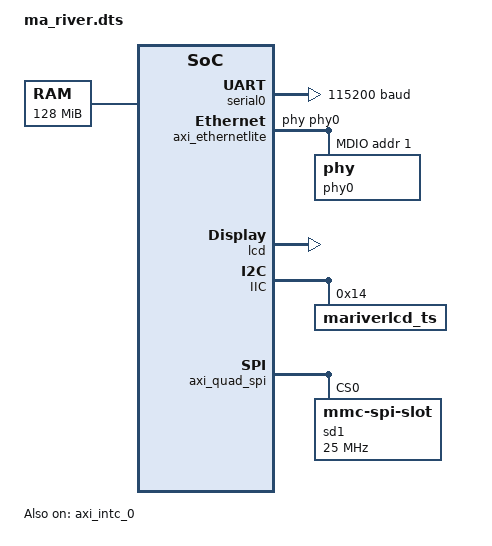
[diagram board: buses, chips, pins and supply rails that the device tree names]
/dts-v1/;

#include <dt-bindings/interrupt-controller/irq.h>

/ {
	compatible = "nscscc,Ma_River_SoC";
	#address-cells = <1>;
	#size-cells = <1>;

	chosen {
		//bootargs = "console=ttyS0,115200n8 rdinit=/sbin/init";
		bootargs = "console=ttyS0,115200n8 console=tty1 rdinit=/sbin/init root=/dev/nfs rootfstype=nfs nfsroot=192.168.6.186:/home/geng/Item/rootfs,proto=tcp,port=2049,nolock,vers=3 rootdelay=2 nfsrootdebug rw ip=192.168.6.20:192.168.6.186:192.168.6.1:255.255.255.0:soc:eth0:off";
		stdout-path = "serial0";
	};

	aliases {
		serial0 = &serial0;
	};

	cpus {
		#address-cells = <1>;
		#size-cells = <0>;
		cpu@0 {
			device_type = "cpu";
			compatible = "mips,4Kc";
			clocks = <&cpuclk>;
			reg = <0>;
		};
	};

	cpuclk: cpuclk {
		compatible = "fixed-clock";
		clock-frequency = <100000000>;
		#clock-cells = <0>;
	};

	socclk: socclk {
		compatible = "fixed-clock";
		clock-frequency = <100000000>;
		#clock-cells = <0>;
	};

	memory {
		device_type = "memory";
		reg = <0x0 0x8000000>;
	};

	cpuintc: interrupt-controller@0 {
		#address-cells = <0>;
		#interrupt-cells = <1>;
		interrupt-controller;
		compatible = "mti,cpu-interrupt-controller";
	};

	soc {
		compatible = "simple-bus";
		#address-cells = <1>;
		#size-cells = <1>;
		#interrupt-cells = <1>;
		ranges;

		axi_intc_0: interrupt-controller@1fb00000 {
			#interrupt-cells = <1>;
			compatible = "xlnx,xps-intc-1.00.a";
			interrupt-controller;
			interrupt-parent = <&cpuintc>;
			interrupts = <2>;
			reg = <0x1fb00000 0x1000>;
			xlnx,kind-of-intr = <0x5>;
			xlnx,num-intr-inputs = <0x3>;
			status = "okay";
		}; 

		serial0: serial@1fe40000 {
			device_type = "serial";
			compatible = "ns16550a";
			reg = <0x1fe40000 0x1000>;
			reg-offset = <0x0000>;
			reg-io-width = <4>;
			reg-shift = <2>;
			current-speed = <115200>;
			clocks = <&socclk>;
			interrupt-parent = <&cpuintc>;
			interrupts = <3>;
		};


		axi_ethernetlite: ethernet@1ff00000 {
			compatible = "xlnx,xps-ethernetlite-1.00.a";
			device_type = "network";
			mac-address = [18 98 00 01 00 29];
			phy-handle = <&phy0>;
			reg = <0x1ff00000 0x10000>;
			xlnx,duplex = <0x1>;
			xlnx,include-global-buffers = <0x1>;
			xlnx,include-internal-loopback = <0x0>;
			xlnx,include-mdio = <0x1>;
			xlnx,instance = "axi_ethernetlite_inst";
			xlnx,rx-ping-pong = <0x1>;
			xlnx,s-axi-id-width = <0x1>;
			xlnx,tx-ping-pong = <0x1>;
			xlnx,use-internal = <0x0>;
			interrupt-parent = <&axi_intc_0>;
			interrupts = <0>;
			status = "okay";
			mdio {
				#address-cells = <1>;
				#size-cells = <0>;
				phy0: phy@1 {
					device_type = "ethernet-phy";
					reg = <1>;
				};
			};
		};

		lcd: lcd@1fd00000 {
		    compatible = "mariverlcd";
		    interrupt-parent = <&cpuintc>;
			interrupts = <5>;
			reg = <0x1fd00000 0x10000>;
		};

		vga: vga@1fe00000 {
		    compatible = "marivervga";
			reg = <0x1fe00000 0x10000>;
		};

		IIC: i2c@1fa00000 {
			compatible = "xlnx,xps-iic-2.00.a";
			interrupt-parent = <&axi_intc_0>;
			interrupts = <1>;
			reg = <0x1fa00000 0x10000>;
			clocks = <&socclk>;
			#address-cells = <1>;
			#size-cells = <0>;
		
			mariverlcd_ts@14 {
				compatible = "mariverlcd_ts";
				reg = <0x14>;
				status = "okay";
			};
		};

		axi_quad_spi: spi@1fe80000 {
			#address-cells = <1>;
			#size-cells = <0>;
			compatible = "xlnx,xps-spi-2.00.a";
			interrupt-parent = <&axi_intc_0>;
			interrupts = <2>;
			reg = <0x1fe80000 0x10000>;
			xlnx,num-ss-bits = <0x1>;
			num-cs = <0x1>;
			fifo-size = <16>;

			sd1@0 {
				reg = <0>;
				status = "okay";
				compatible = "mmc-spi-slot";
				spi-max-frequency = <25000000>;
			};

		};

	};
};
